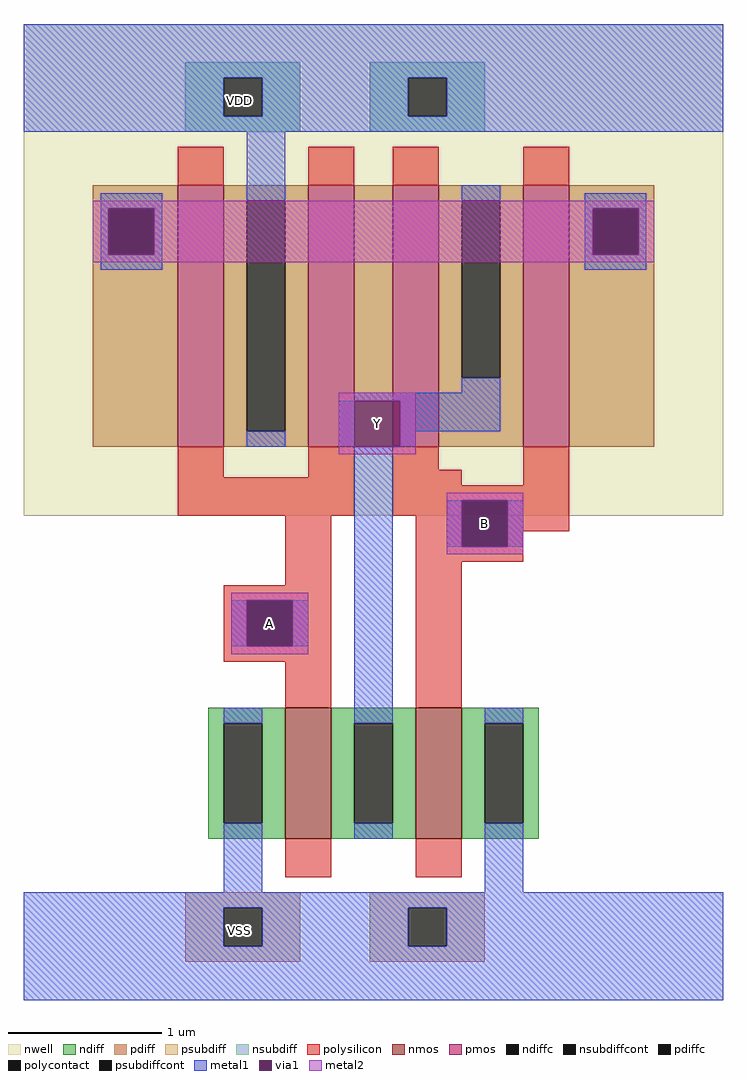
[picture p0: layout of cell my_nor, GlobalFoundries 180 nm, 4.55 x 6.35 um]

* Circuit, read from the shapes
.subckt my_nor A B Y VDD VSS
XM1 Y A VSS VSS nfet_03v3 w=0.85u l=0.3u
XM2 VSS B Y VSS nfet_03v3 w=0.85u l=0.3u
XM3 VDD A n1 VDD pfet_03v3 w=1.7u l=0.3u
XM4 n2 A VDD VDD pfet_03v3 w=1.7u l=0.3u
XM5 Y B n2 VDD pfet_03v3 w=1.7u l=0.3u
XM6 n1 B Y VDD pfet_03v3 w=1.7u l=0.3u
.ends

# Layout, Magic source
magic
tech gf180mcuC
<< nwell >>
rect -15 63 76 127
<< nmos >>
rect 19 21 25 38
rect 36 21 42 38
<< pmos >>
rect 5 72 11 106
rect 22 72 28 106
rect 33 72 39 106
rect 50 72 56 106
<< ndiff >>
rect 9 36 19 38
rect 9 23 11 36
rect 16 23 19 36
rect 9 21 19 23
rect 25 36 36 38
rect 25 23 28 36
rect 33 23 36 36
rect 25 21 36 23
rect 42 36 52 38
rect 42 23 45 36
rect 50 23 52 36
rect 42 21 52 23
<< pdiff >>
rect -6 103 5 106
rect -6 97 -4 103
rect 2 97 5 103
rect -6 72 5 97
rect 11 104 22 106
rect 11 74 14 104
rect 19 74 22 104
rect 11 72 22 74
rect 28 72 33 106
rect 39 104 50 106
rect 39 81 42 104
rect 47 81 50 104
rect 39 72 50 81
rect 56 103 67 106
rect 56 97 59 103
rect 65 97 67 103
rect 56 72 67 97
<< ndiffc >>
rect 11 23 16 36
rect 28 23 33 36
rect 45 23 50 36
<< pdiffc >>
rect -4 97 2 103
rect 14 74 19 104
rect 42 81 47 104
rect 59 97 65 103
<< psubdiff >>
rect 6 12 21 14
rect 6 7 11 12
rect 16 7 21 12
rect 6 5 21 7
rect 30 12 45 14
rect 30 7 35 12
rect 40 7 45 12
rect 30 5 45 7
<< nsubdiff >>
rect 6 120 21 122
rect 6 115 11 120
rect 16 115 21 120
rect 6 113 21 115
rect 30 120 45 122
rect 30 115 35 120
rect 40 115 45 120
rect 30 113 45 115
<< psubdiffcont >>
rect 11 7 16 12
rect 35 7 40 12
<< nsubdiffcont >>
rect 11 115 16 120
rect 35 115 40 120
<< polysilicon >>
rect 5 106 11 111
rect 22 106 28 111
rect 33 106 39 111
rect 50 106 56 111
rect 5 68 11 72
rect 22 68 28 72
rect 5 63 28 68
rect 33 69 39 72
rect 33 67 42 69
rect 50 67 56 72
rect 33 65 56 67
rect 33 63 42 65
rect 19 54 25 63
rect 11 52 25 54
rect 11 46 14 52
rect 20 46 25 52
rect 11 44 25 46
rect 19 38 25 44
rect 36 59 42 63
rect 48 61 56 65
rect 48 59 50 61
rect 36 57 50 59
rect 36 38 42 57
rect 19 16 25 21
rect 36 16 42 21
<< polycontact >>
rect 14 46 20 52
rect 42 59 48 65
<< metal1 >>
rect -15 120 76 127
rect -15 115 11 120
rect 16 115 35 120
rect 40 115 76 120
rect -15 113 76 115
rect -5 103 3 105
rect -5 97 -4 103
rect 2 97 3 103
rect -5 95 3 97
rect 14 104 19 113
rect 42 104 47 106
rect 58 103 66 105
rect 58 97 59 103
rect 65 97 66 103
rect 58 95 66 97
rect 42 79 47 81
rect 28 78 47 79
rect 14 72 19 74
rect 26 72 28 78
rect 34 74 47 78
rect 34 72 36 74
rect 12 46 14 52
rect 20 46 22 52
rect 11 36 16 38
rect 11 14 16 23
rect 28 36 33 72
rect 40 59 42 65
rect 48 59 50 65
rect 28 21 33 23
rect 45 36 50 38
rect 45 14 50 23
rect -15 12 76 14
rect -15 7 11 12
rect 16 7 35 12
rect 40 7 76 12
rect -15 0 76 7
<< via1 >>
rect -4 97 2 103
rect 59 97 65 103
rect 28 72 34 78
rect 14 46 20 52
rect 42 59 48 65
<< metal2 >>
rect -6 103 67 104
rect -6 97 -4 103
rect 2 97 59 103
rect 65 97 67 103
rect -6 96 67 97
rect 26 78 36 79
rect 26 72 28 78
rect 34 72 36 78
rect 26 71 36 72
rect 40 65 50 66
rect 40 59 42 65
rect 48 59 50 65
rect 40 58 50 59
rect 12 52 22 53
rect 12 46 14 52
rect 20 46 22 52
rect 12 45 22 46
<< labels >>
rlabel metal2 17 49 17 49 1 A
port 1 n
rlabel metal2 45 62 45 62 1 B
port 2 n
rlabel via1 31 75 31 75 1 Y
port 3 n
rlabel psubdiffcont 13 9 13 9 1 VSS
port 5 n
rlabel nsubdiffcont 13 117 13 117 1 VDD
port 4 n
<< end >>
